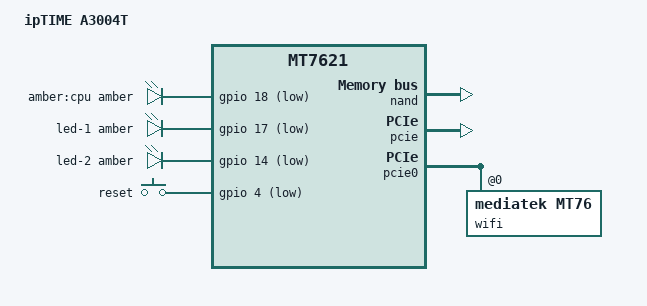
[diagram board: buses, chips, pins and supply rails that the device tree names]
// SPDX-License-Identifier: GPL-2.0-or-later OR MIT

#include "mt7621.dtsi"

#include <dt-bindings/gpio/gpio.h>
#include <dt-bindings/input/input.h>
#include <dt-bindings/leds/common.h>

/ {
	compatible = "iptime,a3004t", "mediatek,mt7621-soc";
	model = "ipTIME A3004T";

	aliases {
		led-boot = &led_cpu;
		led-failsafe = &led_cpu;
		led-running = &led_cpu;
		led-upgrade = &led_cpu;
	};

	leds {
		compatible = "gpio-leds";

		led_cpu: led-0 {
			label = "amber:cpu";
			color = <LED_COLOR_ID_AMBER>;
			function = LED_FUNCTION_CPU;
			gpios = <&gpio 18 GPIO_ACTIVE_LOW>;
		};

		led-1 {
			color = <LED_COLOR_ID_AMBER>;
			function = LED_FUNCTION_WLAN;
			function-enumerator = <0>;
			gpios = <&gpio 17 GPIO_ACTIVE_LOW>;
			linux,default-trigger = "phy0radio";
		};

		led-2 {
			color = <LED_COLOR_ID_AMBER>;
			function = LED_FUNCTION_WLAN;
			function-enumerator = <1>;
			gpios = <&gpio 14 GPIO_ACTIVE_LOW>;
			linux,default-trigger = "phy1radio";
		};
	};

	keys {
		compatible = "gpio-keys";

		reset {
			label = "reset";
			gpios = <&gpio 4 GPIO_ACTIVE_LOW>;
			linux,code = <KEY_RESTART>;
		};
	};
};

&nand {
	status = "okay";

	partitions {
		compatible = "fixed-partitions";
		#address-cells = <1>;
		#size-cells = <1>;

		partition@0 {
			label = "u-boot";
			reg = <0x0 0x80000>;
			read-only;
		};

		partition@80000 {
			label = "config";
			reg = <0x80000 0x20000>;
			read-only;
		};

		factory: partition@a0000 {
			label = "factory";
			reg = <0xa0000 0x20000>;
			read-only;

			compatible = "nvmem-cells";
			#address-cells = <1>;
			#size-cells = <1>;

			macaddr_factory_4: macaddr@4 {
				reg = <0x4 0x6>;
			};

			macaddr_factory_8004: macaddr@8004 {
				reg = <0x8004 0x6>;
			};
		};

		partition@140000 {
			label = "firmware";
			reg = <0x140000 0x7e40000>;

			compatible = "fixed-partitions";
			#address-cells = <1>;
			#size-cells = <1>;

			partition@0 {
				label = "kernel";
				reg = <0x0 0x400000>;
			};

			partition@400000 {
				label = "ubi";
				reg = <0x400000 0x7a40000>;
			};
		};
	};
};

&gmac0 {
	nvmem-cells = <&macaddr_factory_4>;
	nvmem-cell-names = "mac-address";
	mac-address-increment = <(3)>;
};

&switch0 {
	ports {
		port@0 {
			status = "okay";
			label = "wan";
			nvmem-cells = <&macaddr_factory_4>;
			nvmem-cell-names = "mac-address";
			mac-address-increment = <(1)>;
		};

		port@1 {
			status = "okay";
			label = "lan4";
		};

		port@2 {
			status = "okay";
			label = "lan3";
		};

		port@3 {
			status = "okay";
			label = "lan2";
		};

		port@4 {
			status = "okay";
			label = "lan1";
		};
	};
};

&pcie {
	status = "okay";
};

&pcie0 {
	wifi@0,0 {
		compatible = "mediatek,mt76";
		reg = <0x0000 0 0 0 0>;
		mediatek,mtd-eeprom = <&factory 0x0>;
	};
};

&state_default {
	gpio {
		groups = "i2c", "jtag", "wdt";
		function = "gpio";
	};
};
